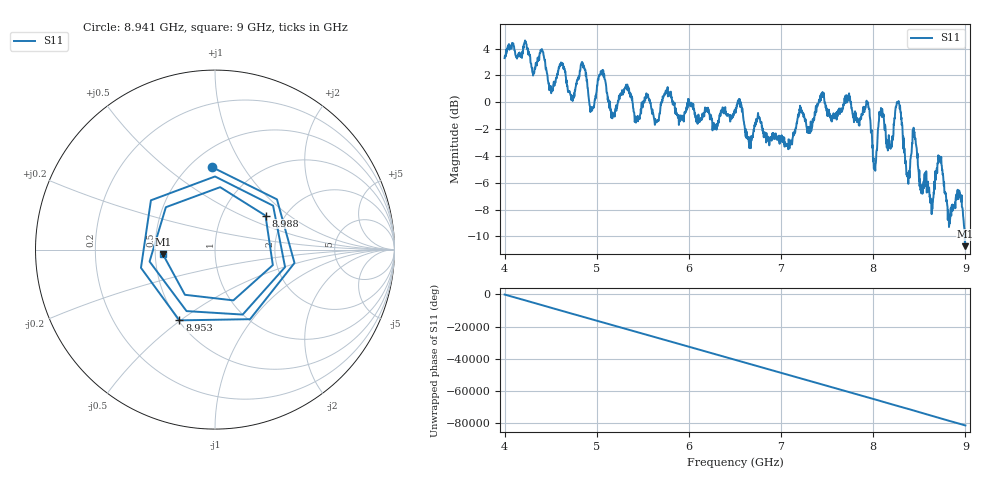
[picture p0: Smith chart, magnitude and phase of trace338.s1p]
! Created with skrf 1.8.0 (http://scikit-rf.org).
# Hz S RI R 50.0
!freq ReS11 ImS11
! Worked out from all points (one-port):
!   1601 points, 4 GHz to 9 GHz, reference 50 ohm
!   lowest |S11| = -10.7 dB at 9 GHz (marker M1), VSWR 1.82, Z = 27.5 - j1.63 ohm
!   |S11| at or under -10 dB: 8.992553 GHz to end of sweep
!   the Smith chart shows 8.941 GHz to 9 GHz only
!   S11 on the Smith chart (normalised r, x): 8.941 GHz: 0.63, +0.74; 8.953 GHz: 0.51, -0.50; 8.988 GHz: 1.60, +0.69; 9 GHz: 0.55, -0.03
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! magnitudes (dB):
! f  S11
! 4 GHz  3.3
! 4.403 GHz  3.9
! 4.503 GHz  0.7
! 4.625 GHz  2.9
! 4.734 GHz  0.3
! 4.853 GHz  2.6
! 4.947 GHz  -0.6
! 5.047 GHz  2.1
! 5.172 GHz  -1.0
! 5.25 GHz  0.5
! 5.875 GHz  -1.0
! 6.5 GHz  -0.7
! 7.125 GHz  -2.7
! 7.75 GHz  0.2
! 7.938 GHz  0.0
! 8.016 GHz  -5.0
! 8.081 GHz  -0.9
! 8.178 GHz  -3.4
! 8.275 GHz  0.1
! 8.375 GHz  -5.4
! 8.447 GHz  -2.2
! 8.628 GHz  -7.5
! 8.722 GHz  -4.0
! 8.822 GHz  -9.3
! 8.941 GHz  -6.7
! 8.953 GHz  -7.1
! 8.988 GHz  -9.4
! 9 GHz  -10.7
